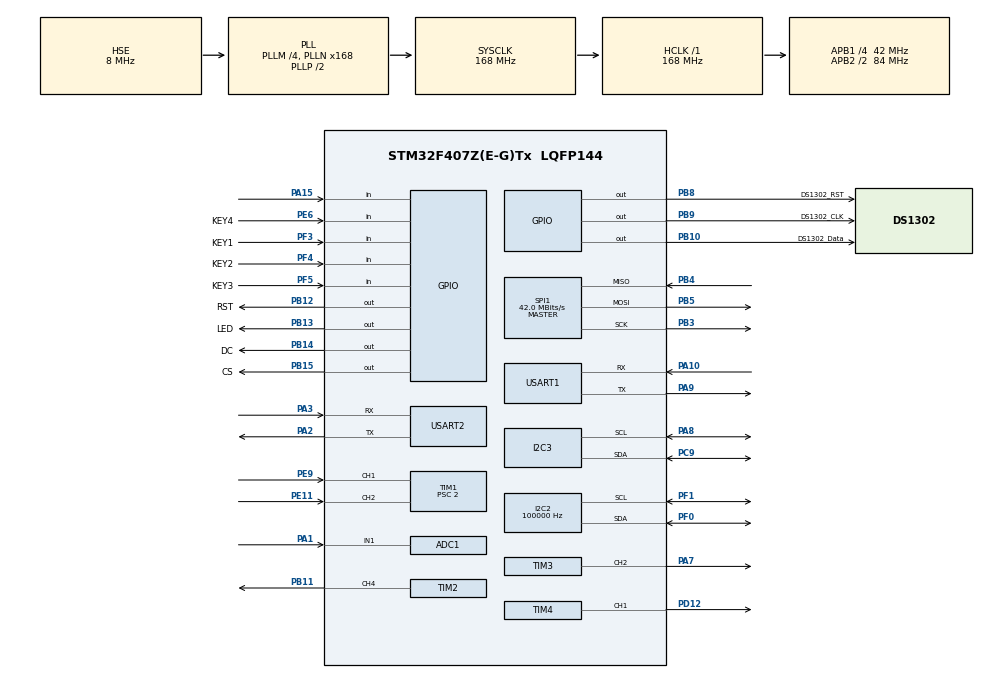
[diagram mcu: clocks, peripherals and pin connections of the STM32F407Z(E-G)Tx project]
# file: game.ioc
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ADC1.Channel-0\#ChannelRegularConversion=ADC_CHANNEL_1
ADC1.ContinuousConvMode=ENABLE
ADC1.DMAContinuousRequests=ENABLE
ADC1.NbrOfConversionFlag=1
ADC1.Rank-0\#ChannelRegularConversion=1
ADC1.SamplingTime-0\#ChannelRegularConversion=ADC_SAMPLETIME_3CYCLES
ADC1.master=1
Dma.ADC1.1.Direction=DMA_PERIPH_TO_MEMORY
Dma.ADC1.1.FIFOMode=DMA_FIFOMODE_DISABLE
Dma.ADC1.1.Instance=DMA2_Stream0
Dma.ADC1.1.MemDataAlignment=DMA_MDATAALIGN_WORD
Dma.ADC1.1.MemInc=DMA_MINC_ENABLE
Dma.ADC1.1.Mode=DMA_CIRCULAR
Dma.ADC1.1.PeriphDataAlignment=DMA_PDATAALIGN_WORD
Dma.ADC1.1.PeriphInc=DMA_PINC_DISABLE
Dma.ADC1.1.Priority=DMA_PRIORITY_LOW
Dma.Request0=SPI1_TX
Dma.Request1=ADC1
Dma.SPI1_TX.0.Direction=DMA_MEMORY_TO_PERIPH
Dma.SPI1_TX.0.FIFOMode=DMA_FIFOMODE_DISABLE
Dma.SPI1_TX.0.Instance=DMA2_Stream3
Dma.SPI1_TX.0.MemDataAlignment=DMA_MDATAALIGN_BYTE
Dma.SPI1_TX.0.MemInc=DMA_MINC_ENABLE
Dma.SPI1_TX.0.Mode=DMA_NORMAL
Dma.SPI1_TX.0.PeriphDataAlignment=DMA_PDATAALIGN_BYTE
Dma.SPI1_TX.0.PeriphInc=DMA_PINC_DISABLE
Dma.SPI1_TX.0.Priority=DMA_PRIORITY_VERY_HIGH
I2C2.ClockSpeed=100000
Mcu.Family=STM32F4
Mcu.Name=STM32F407Z(E-G)Tx
Mcu.Package=LQFP144
NVIC.DMA2_Stream0_IRQn=true\:0\:0\:false\:false\:true\:false\:true\:true
NVIC.DMA2_Stream3_IRQn=true\:0\:0\:false\:false\:true\:false\:true\:true
NVIC.PriorityGroup=NVIC_PRIORITYGROUP_4
NVIC.SPI1_IRQn=true\:2\:0\:true\:false\:true\:true\:true\:true
NVIC.TIM2_IRQn=true\:4\:0\:true\:false\:true\:true\:true\:true
NVIC.TIM7_IRQn=true\:1\:0\:true\:false\:true\:false\:true\:true
NVIC.TimeBase=TIM7_IRQn
NVIC.TimeBaseIP=TIM7
NVIC.USART1_IRQn=true\:0\:0\:false\:false\:true\:true\:true\:true
NVIC.USART2_IRQn=true\:0\:0\:false\:false\:true\:true\:true\:true
PA1.Signal=ADCx_IN1
PA10.Mode=Asynchronous
PA10.Signal=USART1_RX
PA13.Mode=Serial_Wire
PA13.Signal=SYS_JTMS-SWDIO
PA14.Mode=Serial_Wire
PA14.Signal=SYS_JTCK-SWCLK
PA15.GPIO_PuPd=GPIO_PULLUP
PA15.Signal=GPIO_Input
PA2.Mode=Asynchronous
PA2.Signal=USART2_TX
PA3.Mode=Asynchronous
PA3.Signal=USART2_RX
PA7.Signal=S_TIM3_CH2
PA8.Mode=I2C
PA8.Signal=I2C3_SCL
PA9.Mode=Asynchronous
PA9.Signal=USART1_TX
PB10.GPIO_Label=DS1302_Data
PB10.GPIO_PuPd=GPIO_PULLUP
PB10.Signal=GPIO_Output
PB11.Signal=S_TIM2_CH4
PB12.GPIO_Label=RST
PB12.GPIO_Speed=GPIO_SPEED_FREQ_VERY_HIGH
PB12.Signal=GPIO_Output
PB13.GPIO_Label=LED
PB13.GPIO_Speed=GPIO_SPEED_FREQ_VERY_HIGH
PB13.Signal=GPIO_Output
PB14.GPIO_Label=DC
PB14.GPIO_Speed=GPIO_SPEED_FREQ_VERY_HIGH
PB14.Signal=GPIO_Output
PB15.GPIO_Label=CS
PB15.GPIO_Speed=GPIO_SPEED_FREQ_VERY_HIGH
PB15.Signal=GPIO_Output
PB3.Mode=Full_Duplex_Master
PB3.Signal=SPI1_SCK
PB4.Mode=Full_Duplex_Master
PB4.Signal=SPI1_MISO
PB5.Mode=Full_Duplex_Master
PB5.Signal=SPI1_MOSI
PB8.GPIO_Label=DS1302_RST
PB8.Signal=GPIO_Output
PB9.GPIO_Label=DS1302_CLK
PB9.Signal=GPIO_Output
PC14-OSC32_IN.Mode=LSE-External-Oscillator
PC14-OSC32_IN.Signal=RCC_OSC32_IN
PC15-OSC32_OUT.Mode=LSE-External-Oscillator
PC15-OSC32_OUT.Signal=RCC_OSC32_OUT
PC9.Mode=I2C
PC9.Signal=I2C3_SDA
PD12.Signal=S_TIM4_CH1
PE11.Signal=S_TIM1_CH2
PE6.GPIO_Label=KEY4
PE6.GPIO_PuPd=GPIO_PULLUP
PE6.Signal=GPIO_Input
PE9.Signal=S_TIM1_CH1
PF0.Mode=I2C
PF0.Signal=I2C2_SDA
PF1.Mode=I2C
PF1.Signal=I2C2_SCL
PF3.GPIO_Label=KEY1
PF3.GPIO_PuPd=GPIO_PULLUP
PF3.Signal=GPIO_Input
PF4.GPIO_Label=KEY2
PF4.GPIO_PuPd=GPIO_PULLUP
PF4.Signal=GPIO_Input
PF5.GPIO_Label=KEY3
PF5.GPIO_PuPd=GPIO_PULLUP
PF5.Signal=GPIO_Input
PH0-OSC_IN.Mode=HSE-External-Oscillator
PH0-OSC_IN.Signal=RCC_OSC_IN
PH1-OSC_OUT.Mode=HSE-External-Oscillator
PH1-OSC_OUT.Signal=RCC_OSC_OUT
ProjectManager.HeapSize=0x200
ProjectManager.StackSize=0x800
ProjectManager.TargetToolchain=MDK-ARM V5.32
RCC.48MHZClocksFreq_Value=84000000
RCC.AHBFreq_Value=168000000
RCC.APB1CLKDivider=RCC_HCLK_DIV4
RCC.APB1Freq_Value=42000000
RCC.APB1TimFreq_Value=84000000
RCC.APB2CLKDivider=RCC_HCLK_DIV2
RCC.APB2Freq_Value=84000000
RCC.APB2TimFreq_Value=168000000
RCC.CortexFreq_Value=168000000
RCC.HCLKFreq_Value=168000000
RCC.HSE_VALUE=8000000
RCC.HSI_VALUE=16000000
RCC.PLLM=4
RCC.PLLN=168
RCC.PLLSourceVirtual=RCC_PLLSOURCE_HSE
RCC.SYSCLKFreq_VALUE=168000000
RCC.SYSCLKSource=RCC_SYSCLKSOURCE_PLLCLK
RCC.VCOOutputFreq_Value=336000000
SH.ADCx_IN1.0=ADC1_IN1,IN1
SH.S_TIM1_CH1.0=TIM1_CH1,Encoder_Interface
SH.S_TIM1_CH2.0=TIM1_CH2,Encoder_Interface
SH.S_TIM2_CH4.0=TIM2_CH4,PWM Generation4 CH4
SH.S_TIM3_CH2.0=TIM3_CH2,PWM Generation2 CH2
SH.S_TIM4_CH1.0=TIM4_CH1,PWM Generation1 CH1
SPI1.BaudRatePrescaler=SPI_BAUDRATEPRESCALER_2
SPI1.CalculateBaudRate=42.0 MBits/s
SPI1.Direction=SPI_DIRECTION_2LINES
SPI1.Mode=SPI_MODE_MASTER
SPI1.VirtualType=VM_MASTER
TIM1.IC1Filter=15
TIM1.IC2Filter=15
TIM1.IC2Polarity=TIM_ICPOLARITY_FALLING
TIM1.Prescaler=2
TIM2.Channel-PWM\ Generation4\ CH4=TIM_CHANNEL_4
TIM2.Period=500-1
TIM2.Prescaler=84-1
TIM3.Channel-PWM\ Generation2\ CH2=TIM_CHANNEL_2
TIM3.Period=500-1
TIM3.Prescaler=84-1
TIM4.AutoReloadPreload=TIM_AUTORELOAD_PRELOAD_ENABLE
TIM4.Channel-PWM\ Generation1\ CH1=TIM_CHANNEL_1
TIM4.Period=1000-1
TIM4.Prescaler=84-1
USART1.VirtualMode=VM_ASYNC
USART2.VirtualMode=VM_ASYNC
VP_SYS_VS_tim7.Mode=TIM7
VP_TIM2_VS_ClockSourceINT.Mode=Internal
VP_TIM3_VS_ClockSourceINT.Mode=Internal
VP_TIM4_VS_ClockSourceINT.Mode=Internal
board=custom

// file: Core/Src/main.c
/* USER CODE BEGIN Header */
/**
 ******************************************************************************
 * @file           : main.c
 * @brief          : Main program body
 ******************************************************************************
 * @attention
 *
 * Copyright (c) 2025 STMicroelectronics.
 * All rights reserved.
 *
 * This software is licensed under terms that can be found in the LICENSE file
 * in the root directory of this software component.
 * If no LICENSE file comes with this software, it is provided AS-IS.
 *
 ******************************************************************************
 */
/* USER CODE END Header */
#include "main.h"
#include "adc.h"
#include "dma.h"
#include "i2c.h"
#include "spi.h"
#include "tim.h"
#include "usart.h"
#include "gpio.h"

/* USER CODE BEGIN Includes */
#include "mydefine.h"
#include "NRF24L01.h"
#include "Bright_APP.h"
#include "Buzzer_APP.h"
#include "DS1302_APP.h"
#include "ESP8266_APP.h"
/* USER CODE END Includes */

void SystemClock_Config(void);
/* USER CODE BEGIN PFP */
extern void Flash_Init(void);
extern void update_home_screen_leaderboard(void);
/* USER CODE END PFP */

/* USER CODE BEGIN 0 */
extern uint8_t aRxBuffer;
/* USER CODE END 0 */

int main(void)
{

  /* MCU Configuration--------------------------------------------------------*/

  /* Reset of all peripherals, Initializes the Flash interface and the Systick. */
  HAL_Init();

  /* Configure the system clock */
  SystemClock_Config();

  /* Initialize all configured peripherals */
  MX_GPIO_Init();
  MX_DMA_Init();
  MX_USART1_UART_Init();
  MX_TIM2_Init();
  MX_SPI1_Init();
  MX_ADC1_Init();
  MX_I2C2_Init();
  MX_I2C3_Init();
  MX_TIM4_Init();
  MX_TIM3_Init();
  MX_TIM1_Init();
  MX_USART2_UART_Init();
  /* USER CODE BEGIN 2 */
  HAL_UART_Receive_IT(&huart2, (uint8_t *)&aRxBuffer, 1);
  HAL_TIM_PWM_Start(&htim4, TIM_CHANNEL_1);
  HAL_TIM_PWM_Start(&htim3, TIM_CHANNEL_2);
	HAL_TIM_PWM_Start(&htim2, TIM_CHANNEL_4);
  HAL_TIM_Encoder_Start(&htim1, TIM_CHANNEL_ALL);

  Flash_Init();
  LCD_Init();
  lv_init();
  lv_port_disp_init();
  update_home_screen_leaderboard();
  adc_dma_init();
  //DS1302_Set_Time(25, 1, 9, 21, 10, 21, 0);

  ESP01S_Init();
		FreeRTOS_Start();
  /* USER CODE END 2 */

  /* Infinite loop */
  while (1)
  {

    /* USER CODE BEGIN 3 */

    HAL_Delay(5);
  }
  /* USER CODE END 3 */
}

void SystemClock_Config(void)
{
  RCC_OscInitTypeDef RCC_OscInitStruct = {0};
  RCC_ClkInitTypeDef RCC_ClkInitStruct = {0};

  /** Configure the main internal regulator output voltage
  */
  __HAL_RCC_PWR_CLK_ENABLE();
  __HAL_PWR_VOLTAGESCALING_CONFIG(PWR_REGULATOR_VOLTAGE_SCALE1);

  /** Initializes the RCC Oscillators according to the specified parameters
  * in the RCC_OscInitTypeDef structure.
  */
  RCC_OscInitStruct.OscillatorType = RCC_OSCILLATORTYPE_HSE;
  RCC_OscInitStruct.HSEState = RCC_HSE_ON;
  RCC_OscInitStruct.PLL.PLLState = RCC_PLL_ON;
  RCC_OscInitStruct.PLL.PLLSource = RCC_PLLSOURCE_HSE;
  RCC_OscInitStruct.PLL.PLLM = 4;
  RCC_OscInitStruct.PLL.PLLN = 168;
  RCC_OscInitStruct.PLL.PLLP = RCC_PLLP_DIV2;
  RCC_OscInitStruct.PLL.PLLQ = 4;
  if (HAL_RCC_OscConfig(&RCC_OscInitStruct) != HAL_OK)
  {
    Error_Handler();
  }

  /** Initializes the CPU, AHB and APB buses clocks
  */
  RCC_ClkInitStruct.ClockType = RCC_CLOCKTYPE_HCLK|RCC_CLOCKTYPE_SYSCLK
                              |RCC_CLOCKTYPE_PCLK1|RCC_CLOCKTYPE_PCLK2;
  RCC_ClkInitStruct.SYSCLKSource = RCC_SYSCLKSOURCE_PLLCLK;
  RCC_ClkInitStruct.AHBCLKDivider = RCC_SYSCLK_DIV1;
  RCC_ClkInitStruct.APB1CLKDivider = RCC_HCLK_DIV4;
  RCC_ClkInitStruct.APB2CLKDivider = RCC_HCLK_DIV2;

  if (HAL_RCC_ClockConfig(&RCC_ClkInitStruct, FLASH_LATENCY_5) != HAL_OK)
  {
    Error_Handler();
  }
}

void HAL_TIM_PeriodElapsedCallback(TIM_HandleTypeDef *htim)
{
  if (htim->Instance == TIM7)
  {
    HAL_IncTick();
  }
  /* USER CODE BEGIN Callback 1 */
  if (htim->Instance == TIM2)
  {
    my_printf(&huart1, "TIM2\r\n");
  }
  else if (htim->Instance == TIM3)
  {
    my_printf(&huart1, "TIM3\r\n");
  }
  /* USER CODE END Callback 1 */
}

void Error_Handler(void)
{
  __disable_irq();
  while (1)
  {
  }
}
